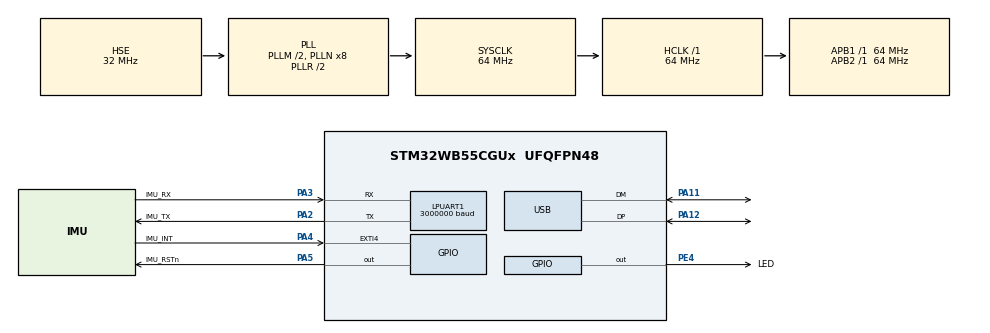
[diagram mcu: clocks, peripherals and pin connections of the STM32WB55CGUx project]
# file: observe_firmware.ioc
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Dma.LPUART1_RX.0.Direction=DMA_PERIPH_TO_MEMORY
Dma.LPUART1_RX.0.EventEnable=DISABLE
Dma.LPUART1_RX.0.Instance=DMA1_Channel1
Dma.LPUART1_RX.0.MemDataAlignment=DMA_MDATAALIGN_BYTE
Dma.LPUART1_RX.0.MemInc=DMA_MINC_ENABLE
Dma.LPUART1_RX.0.Mode=DMA_CIRCULAR
Dma.LPUART1_RX.0.PeriphDataAlignment=DMA_PDATAALIGN_BYTE
Dma.LPUART1_RX.0.PeriphInc=DMA_PINC_DISABLE
Dma.LPUART1_RX.0.Polarity=HAL_DMAMUX_REQ_GEN_RISING
Dma.LPUART1_RX.0.Priority=DMA_PRIORITY_LOW
Dma.LPUART1_RX.0.RequestNumber=1
Dma.LPUART1_RX.0.SignalID=NONE
Dma.LPUART1_RX.0.SyncEnable=DISABLE
Dma.LPUART1_RX.0.SyncPolarity=HAL_DMAMUX_SYNC_NO_EVENT
Dma.LPUART1_RX.0.SyncRequestNumber=1
Dma.LPUART1_RX.0.SyncSignalID=NONE
Dma.Request0=LPUART1_RX
LPUART1.BaudRate=3000000
Mcu.Family=STM32WB
Mcu.Name=STM32WB55CGUx
Mcu.Package=UFQFPN48
NVIC.DMA1_Channel1_IRQn=true\:0\:0\:false\:false\:true\:false\:true\:false
NVIC.EXTI4_IRQn=true\:1\:0\:true\:false\:true\:true\:true\:false
NVIC.HSEM_IRQn=true\:0\:0\:false\:false\:true\:false\:true\:true
NVIC.IPCC_C1_RX_IRQn=true\:0\:0\:false\:false\:true\:true\:true\:true
NVIC.IPCC_C1_TX_IRQn=true\:0\:0\:false\:false\:true\:true\:true\:true
NVIC.LPUART1_IRQn=true\:2\:0\:true\:false\:true\:true\:true\:false
NVIC.PriorityGroup=NVIC_PRIORITYGROUP_4
NVIC.RTC_WKUP_IRQn=true\:3\:0\:true\:false\:true\:true\:true\:true
NVIC.TIM1_TRG_COM_TIM17_IRQn=true\:0\:0\:false\:false\:true\:true\:true\:true
NVIC.USB_HP_IRQn=true\:0\:0\:false\:false\:true\:true\:true\:true
NVIC.USB_LP_IRQn=true\:0\:0\:false\:false\:true\:true\:true\:true
OSC_IN.Mode=HSE-External-Oscillator
OSC_IN.Signal=RCC_OSC_IN
OSC_OUT.Mode=HSE-External-Oscillator
OSC_OUT.Signal=RCC_OSC_OUT
PA11.GPIO_Speed=GPIO_SPEED_FREQ_VERY_HIGH
PA11.Mode=Device
PA11.Signal=USB_DM
PA12.GPIO_Speed=GPIO_SPEED_FREQ_VERY_HIGH
PA12.Mode=Device
PA12.Signal=USB_DP
PA13.Mode=Serial_Wire
PA13.Signal=SYS_JTMS-SWDIO
PA14.Mode=Serial_Wire
PA14.Signal=SYS_JTCK-SWCLK
PA2.GPIO_Label=IMU_TX
PA2.GPIO_Speed=GPIO_SPEED_FREQ_VERY_HIGH
PA2.Mode=Asynchronous
PA2.Signal=LPUART1_TX
PA3.GPIO_Label=IMU_RX
PA3.GPIO_Speed=GPIO_SPEED_FREQ_VERY_HIGH
PA3.Mode=Asynchronous
PA3.Signal=LPUART1_RX
PA4.GPIO_Label=IMU_INT
PA4.GPIO_ModeDefaultEXTI=GPIO_MODE_IT_FALLING
PA4.GPIO_PuPd=GPIO_PULLUP
PA4.Signal=GPXTI4
PA5.GPIO_Label=IMU_RSTn
PA5.GPIO_Speed=GPIO_SPEED_FREQ_MEDIUM
PA5.PinState=GPIO_PIN_SET
PA5.Signal=GPIO_Output
PC14-OSC32_IN.Mode=LSE-External-Oscillator
PC14-OSC32_IN.Signal=RCC_OSC32_IN
PC15-OSC32_OUT.Mode=LSE-External-Oscillator
PC15-OSC32_OUT.Signal=RCC_OSC32_OUT
PE4.GPIO_Label=LED
PE4.GPIO_Speed=GPIO_SPEED_FREQ_HIGH
PE4.PinState=GPIO_PIN_RESET
PE4.Signal=GPIO_Output
ProjectManager.HeapSize=0x400
ProjectManager.StackSize=0x600
ProjectManager.TargetToolchain=CMake
RCC.ADCFreq_Value=48000000
RCC.AHB2CLKDivider=RCC_SYSCLK_DIV2
RCC.AHBFreq_Value=64000000
RCC.APB1Freq_Value=64000000
RCC.APB1TimFreq_Value=64000000
RCC.APB2Freq_Value=64000000
RCC.APB2TimFreq_Value=64000000
RCC.APB3Freq_Value=16000000
RCC.CortexFreq_Value=64000000
RCC.HCLKFreq_Value=64000000
RCC.HSE_VALUE=32000000
RCC.HSI48_VALUE=48000000
RCC.HSI_VALUE=16000000
RCC.MSIClockRange=RCC_MSIRANGE_10
RCC.PLLM=RCC_PLLM_DIV2
RCC.PLLSAI1N=6
RCC.PLLSourceVirtual=RCC_PLLSOURCE_HSE
RCC.RFWKPClockSelection=RCC_RFWKPCLKSOURCE_LSE
RCC.SMPSCLockSelection=RCC_SMPSCLKSOURCE_HSE
RCC.SYSCLKFreq_VALUE=64000000
RCC.SYSCLKSource=RCC_SYSCLKSOURCE_PLLCLK
RCC.USBFreq_Value=48000000
RCC.VCOOutputFreq_Value=128000000
RF1.Mode=RF1_Activate
RF1.Signal=RF_RF1
TIM17.AutoReloadPreload=TIM_AUTORELOAD_PRELOAD_ENABLE
TIM17.Period=63999
TIM2.AutoReloadPreload=TIM_AUTORELOAD_PRELOAD_ENABLE
TIM2.Prescaler=63
USB.Sof_enable=ENABLE
USB.lpm_enable=DISABLE
USB_DEVICE.CLASS_NAME_FS=CDC
USB_DEVICE.VirtualMode=Cdc
USB_DEVICE.VirtualModeFS=Cdc_FS
VP_HSEM_VS_HSEM.Mode=HSEM_Activate
VP_IPCC_VS_IPCC.Mode=IPCC_Activate
VP_MEMORYMAP_VS_MEMORYMAP.Mode=CurAppReg
VP_RTC_VS_RTC_Activate.Mode=RTC_Enabled
VP_RTC_VS_RTC_WakeUp_intern.Mode=WakeUp
VP_TIM17_VS_ClockSourceINT.Mode=Enable_Timer
VP_TIM2_VS_ClockSourceINT.Mode=Internal
VP_USB_DEVICE_VS_USB_DEVICE_CDC_FS.Mode=CDC_FS
board=custom

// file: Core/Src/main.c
/* USER CODE BEGIN Header */
/**
  ******************************************************************************
  * @file           : main.c
  * @brief          : Main program body
  ******************************************************************************
  * @attention
  *
  * Copyright (c) 2026 STMicroelectronics.
  * All rights reserved.
  *
  * This software is licensed under terms that can be found in the LICENSE file
  * in the root directory of this software component.
  * If no LICENSE file comes with this software, it is provided AS-IS.
  *
  ******************************************************************************
  */
/* USER CODE END Header */
#include "main.h"
#include "usb_device.h"

/* USER CODE BEGIN Includes */
#include "sh2.h"
#include "sh2_util.h"
#include "sh2_err.h"
#include "sh2_SensorValue.h"
#include "sh2_hal.h"

#include "usbd_cdc_if.h"
/* USER CODE END Includes */

IPCC_HandleTypeDef hipcc;

UART_HandleTypeDef hlpuart1;
DMA_HandleTypeDef hdma_lpuart1_rx;

RTC_HandleTypeDef hrtc;

TIM_HandleTypeDef htim2;
TIM_HandleTypeDef htim17;

/* USER CODE BEGIN PV */
// Exported Varaibles
volatile pack_t PACK = {"HHHH", {0},"XXXX"};

volatile imu_data_t* pimu_data = &PACK.imu_data;

UART_HandleTypeDef* phlpuart1 = &hlpuart1;
DMA_HandleTypeDef* phdma_lpuart1_rx = &hdma_lpuart1_rx;

// Local Variables
static sh2_Hal_t* pSh2Hal = 0;
static bool resetOccurred = false;

static uint8_t msg[1024];
/* USER CODE END PV */

void SystemClock_Config(void);
void PeriphCommonClock_Config(void);
static void MX_GPIO_Init(void);
static void MX_DMA_Init(void);
static void MX_IPCC_Init(void);
static void MX_LPUART1_UART_Init(void);
static void MX_RTC_Init(void);
static void MX_TIM2_Init(void);
static void MX_TIM17_Init(void);
static void MX_RF_Init(void);
/* USER CODE BEGIN PFP */

// sh2 functions
static void startReports(void);
static void eventHandler(void * cookie, sh2_AsyncEvent_t *pEvent);
static void sensorHandler(void * cookie, sh2_SensorEvent_t *pEvent);
/* USER CODE END PFP */

int main(void)
{

  /* MCU Configuration--------------------------------------------------------*/

  /* Reset of all peripherals, Initializes the Flash interface and the Systick. */
  HAL_Init();

  /* Configure the system clock */
  SystemClock_Config();

  /* Configure the peripherals common clocks */
  PeriphCommonClock_Config();

  /* IPCC initialisation */
  MX_IPCC_Init();

  /* Initialize all configured peripherals */
  MX_GPIO_Init();
  MX_DMA_Init();
  MX_LPUART1_UART_Init();
  MX_RTC_Init();
  MX_USB_Device_Init();
  MX_TIM2_Init();
  MX_TIM17_Init();
  MX_RF_Init();
  /* USER CODE BEGIN 2 */
  // Enable us timer
  HAL_TIM_Base_Start(&htim2);

  // Enable control loop timer
  HAL_TIM_Base_Start_IT(&htim17);

  pSh2Hal = sh2_HAL_init(
      IMU_RSTn_GPIO_Port, IMU_RSTn_Pin,
      IMU_INT_GPIO_Port, IMU_INT_Pin, IMU_INT_EXTI_IRQn,
      phlpuart1, LPUART1_IRQn, phdma_lpuart1_rx, DMA1_Channel1_IRQn);

  // Open SH2 interface (also registers non-sensor event handler.)
  int ret = sh2_open(pSh2Hal, eventHandler, NULL);
  if (ret != SH2_OK) {
    printf("Error, %d, from sh2_open.\n", ret);
  }

  // Register sensor listener
  sh2_setSensorCallback(sensorHandler, NULL);

  resetOccurred = false;

  startReports();
  /* USER CODE END 2 */

  /* Infinite loop */
  /* USER CODE BEGIN WHILE */
  while (1)
  {
    if (resetOccurred) {
      // Restart the flow of sensor reports
      resetOccurred = false;
      startReports();
    }
    // Service the sensor hub.
    sh2_service();

    /* USER CODE END WHILE */

  }
}

void SystemClock_Config(void)
{
  RCC_OscInitTypeDef RCC_OscInitStruct = {0};
  RCC_ClkInitTypeDef RCC_ClkInitStruct = {0};

  /** Configure LSE Drive Capability
  */
  HAL_PWR_EnableBkUpAccess();
  __HAL_RCC_LSEDRIVE_CONFIG(RCC_LSEDRIVE_MEDIUMHIGH);

  /** Configure the main internal regulator output voltage
  */
  __HAL_PWR_VOLTAGESCALING_CONFIG(PWR_REGULATOR_VOLTAGE_SCALE1);

  /** Initializes the RCC Oscillators according to the specified parameters
  * in the RCC_OscInitTypeDef structure.
  */
  RCC_OscInitStruct.OscillatorType = RCC_OSCILLATORTYPE_HSI|RCC_OSCILLATORTYPE_LSI1
                              |RCC_OSCILLATORTYPE_HSE|RCC_OSCILLATORTYPE_LSE;
  RCC_OscInitStruct.HSEState = RCC_HSE_ON;
  RCC_OscInitStruct.LSEState = RCC_LSE_ON;
  RCC_OscInitStruct.HSIState = RCC_HSI_ON;
  RCC_OscInitStruct.HSICalibrationValue = RCC_HSICALIBRATION_DEFAULT;
  RCC_OscInitStruct.LSIState = RCC_LSI_ON;
  RCC_OscInitStruct.PLL.PLLState = RCC_PLL_ON;
  RCC_OscInitStruct.PLL.PLLSource = RCC_PLLSOURCE_HSE;
  RCC_OscInitStruct.PLL.PLLM = RCC_PLLM_DIV2;
  RCC_OscInitStruct.PLL.PLLN = 8;
  RCC_OscInitStruct.PLL.PLLP = RCC_PLLP_DIV2;
  RCC_OscInitStruct.PLL.PLLR = RCC_PLLR_DIV2;
  RCC_OscInitStruct.PLL.PLLQ = RCC_PLLQ_DIV2;
  if (HAL_RCC_OscConfig(&RCC_OscInitStruct) != HAL_OK)
  {
    Error_Handler();
  }

  /** Configure the SYSCLKSource, HCLK, PCLK1 and PCLK2 clocks dividers
  */
  RCC_ClkInitStruct.ClockType = RCC_CLOCKTYPE_HCLK4|RCC_CLOCKTYPE_HCLK2
                              |RCC_CLOCKTYPE_HCLK|RCC_CLOCKTYPE_SYSCLK
                              |RCC_CLOCKTYPE_PCLK1|RCC_CLOCKTYPE_PCLK2;
  RCC_ClkInitStruct.SYSCLKSource = RCC_SYSCLKSOURCE_PLLCLK;
  RCC_ClkInitStruct.AHBCLKDivider = RCC_SYSCLK_DIV1;
  RCC_ClkInitStruct.APB1CLKDivider = RCC_HCLK_DIV1;
  RCC_ClkInitStruct.APB2CLKDivider = RCC_HCLK_DIV1;
  RCC_ClkInitStruct.AHBCLK2Divider = RCC_SYSCLK_DIV2;
  RCC_ClkInitStruct.AHBCLK4Divider = RCC_SYSCLK_DIV1;

  if (HAL_RCC_ClockConfig(&RCC_ClkInitStruct, FLASH_LATENCY_3) != HAL_OK)
  {
    Error_Handler();
  }
}

void PeriphCommonClock_Config(void)
{
  RCC_PeriphCLKInitTypeDef PeriphClkInitStruct = {0};

  /** Initializes the peripherals clock
  */
  PeriphClkInitStruct.PeriphClockSelection = RCC_PERIPHCLK_SMPS|RCC_PERIPHCLK_RFWAKEUP;
  PeriphClkInitStruct.RFWakeUpClockSelection = RCC_RFWKPCLKSOURCE_LSE;
  PeriphClkInitStruct.SmpsClockSelection = RCC_SMPSCLKSOURCE_HSE;
  PeriphClkInitStruct.SmpsDivSelection = RCC_SMPSCLKDIV_RANGE0;

  if (HAL_RCCEx_PeriphCLKConfig(&PeriphClkInitStruct) != HAL_OK)
  {
    Error_Handler();
  }
}

static void MX_IPCC_Init(void)
{

  hipcc.Instance = IPCC;
  if (HAL_IPCC_Init(&hipcc) != HAL_OK)
  {
    Error_Handler();
  }

}

static void MX_LPUART1_UART_Init(void)
{

  hlpuart1.Instance = LPUART1;
  hlpuart1.Init.BaudRate = 3000000;
  hlpuart1.Init.WordLength = UART_WORDLENGTH_8B;
  hlpuart1.Init.StopBits = UART_STOPBITS_1;
  hlpuart1.Init.Parity = UART_PARITY_NONE;
  hlpuart1.Init.Mode = UART_MODE_TX_RX;
  hlpuart1.Init.HwFlowCtl = UART_HWCONTROL_NONE;
  hlpuart1.Init.OneBitSampling = UART_ONE_BIT_SAMPLE_DISABLE;
  hlpuart1.Init.ClockPrescaler = UART_PRESCALER_DIV1;
  hlpuart1.AdvancedInit.AdvFeatureInit = UART_ADVFEATURE_NO_INIT;
  hlpuart1.FifoMode = UART_FIFOMODE_DISABLE;
  if (HAL_UART_Init(&hlpuart1) != HAL_OK)
  {
    Error_Handler();
  }
  if (HAL_UARTEx_SetTxFifoThreshold(&hlpuart1, UART_TXFIFO_THRESHOLD_1_8) != HAL_OK)
  {
    Error_Handler();
  }
  if (HAL_UARTEx_SetRxFifoThreshold(&hlpuart1, UART_RXFIFO_THRESHOLD_1_8) != HAL_OK)
  {
    Error_Handler();
  }
  if (HAL_UARTEx_DisableFifoMode(&hlpuart1) != HAL_OK)
  {
    Error_Handler();
  }

}

static void MX_RF_Init(void)
{

}

static void MX_RTC_Init(void)
{

  /** Initialize RTC Only
  */
  hrtc.Instance = RTC;
  hrtc.Init.HourFormat = RTC_HOURFORMAT_24;
  hrtc.Init.AsynchPrediv = 127;
  hrtc.Init.SynchPrediv = 255;
  hrtc.Init.OutPut = RTC_OUTPUT_DISABLE;
  hrtc.Init.OutPutPolarity = RTC_OUTPUT_POLARITY_HIGH;
  hrtc.Init.OutPutType = RTC_OUTPUT_TYPE_OPENDRAIN;
  hrtc.Init.OutPutRemap = RTC_OUTPUT_REMAP_NONE;
  if (HAL_RTC_Init(&hrtc) != HAL_OK)
  {
    Error_Handler();
  }

  /** Enable the WakeUp
  */
  if (HAL_RTCEx_SetWakeUpTimer_IT(&hrtc, 0, RTC_WAKEUPCLOCK_RTCCLK_DIV16) != HAL_OK)
  {
    Error_Handler();
  }

}

static void MX_TIM2_Init(void)
{

  TIM_ClockConfigTypeDef sClockSourceConfig = {0};
  TIM_MasterConfigTypeDef sMasterConfig = {0};

  htim2.Instance = TIM2;
  htim2.Init.Prescaler = 63;
  htim2.Init.CounterMode = TIM_COUNTERMODE_UP;
  htim2.Init.Period = 4294967295;
  htim2.Init.ClockDivision = TIM_CLOCKDIVISION_DIV1;
  htim2.Init.AutoReloadPreload = TIM_AUTORELOAD_PRELOAD_ENABLE;
  if (HAL_TIM_Base_Init(&htim2) != HAL_OK)
  {
    Error_Handler();
  }
  sClockSourceConfig.ClockSource = TIM_CLOCKSOURCE_INTERNAL;
  if (HAL_TIM_ConfigClockSource(&htim2, &sClockSourceConfig) != HAL_OK)
  {
    Error_Handler();
  }
  sMasterConfig.MasterOutputTrigger = TIM_TRGO_RESET;
  sMasterConfig.MasterSlaveMode = TIM_MASTERSLAVEMODE_DISABLE;
  if (HAL_TIMEx_MasterConfigSynchronization(&htim2, &sMasterConfig) != HAL_OK)
  {
    Error_Handler();
  }

}

static void MX_TIM17_Init(void)
{

  htim17.Instance = TIM17;
  htim17.Init.Prescaler = 0;
  htim17.Init.CounterMode = TIM_COUNTERMODE_UP;
  htim17.Init.Period = 63999;
  htim17.Init.ClockDivision = TIM_CLOCKDIVISION_DIV1;
  htim17.Init.RepetitionCounter = 0;
  htim17.Init.AutoReloadPreload = TIM_AUTORELOAD_PRELOAD_ENABLE;
  if (HAL_TIM_Base_Init(&htim17) != HAL_OK)
  {
    Error_Handler();
  }

}

static void MX_DMA_Init(void)
{

  /* DMA controller clock enable */
  __HAL_RCC_DMAMUX1_CLK_ENABLE();
  __HAL_RCC_DMA1_CLK_ENABLE();

  /* DMA interrupt init */
  /* DMA1_Channel1_IRQn interrupt configuration */
  HAL_NVIC_SetPriority(DMA1_Channel1_IRQn, 0, 0);
  HAL_NVIC_EnableIRQ(DMA1_Channel1_IRQn);

}

static void MX_GPIO_Init(void)
{
  GPIO_InitTypeDef GPIO_InitStruct = {0};

  /* GPIO Ports Clock Enable */
  __HAL_RCC_GPIOC_CLK_ENABLE();
  __HAL_RCC_GPIOA_CLK_ENABLE();
  __HAL_RCC_GPIOE_CLK_ENABLE();

  /*Configure GPIO pin Output Level */
  HAL_GPIO_WritePin(IMU_RSTn_GPIO_Port, IMU_RSTn_Pin, GPIO_PIN_SET);

  /*Configure GPIO pin Output Level */
  HAL_GPIO_WritePin(LED_GPIO_Port, LED_Pin, GPIO_PIN_RESET);

  /*Configure GPIO pin : IMU_INT_Pin */
  GPIO_InitStruct.Pin = IMU_INT_Pin;
  GPIO_InitStruct.Mode = GPIO_MODE_IT_FALLING;
  GPIO_InitStruct.Pull = GPIO_PULLUP;
  HAL_GPIO_Init(IMU_INT_GPIO_Port, &GPIO_InitStruct);

  /*Configure GPIO pin : IMU_RSTn_Pin */
  GPIO_InitStruct.Pin = IMU_RSTn_Pin;
  GPIO_InitStruct.Mode = GPIO_MODE_OUTPUT_PP;
  GPIO_InitStruct.Pull = GPIO_NOPULL;
  GPIO_InitStruct.Speed = GPIO_SPEED_FREQ_MEDIUM;
  HAL_GPIO_Init(IMU_RSTn_GPIO_Port, &GPIO_InitStruct);

  /*Configure GPIO pin : LED_Pin */
  GPIO_InitStruct.Pin = LED_Pin;
  GPIO_InitStruct.Mode = GPIO_MODE_OUTPUT_PP;
  GPIO_InitStruct.Pull = GPIO_NOPULL;
  GPIO_InitStruct.Speed = GPIO_SPEED_FREQ_HIGH;
  HAL_GPIO_Init(LED_GPIO_Port, &GPIO_InitStruct);

  /* EXTI interrupt init*/
  HAL_NVIC_SetPriority(EXTI4_IRQn, 1, 0);

}

/* USER CODE BEGIN 4 */
void delayUs(uint32_t t)
{
  uint32_t start = TimeNowUs();

  while ((TimeNowUs() - start) < t);
}

void startReports(void) {
  int status;

  // Each entry of sensorConfig[] represents one sensor to be configured in the loop below
  static const struct {
    int sensorId;
    sh2_SensorConfig_t config;
  } sensorConfig[] =
  {
    // Gyro Rotation Vector, 1000 Hz
    {SH2_GYRO_INTEGRATED_RV, {.reportInterval_us = 1000}},
};

  for (int n = 0; n < ARRAY_LEN(sensorConfig); n++)
  {
    int sensorId = sensorConfig[n].sensorId;

    status = sh2_setSensorConfig(sensorId, &sensorConfig[n].config);
    if (status != 0) {
      memset(msg, 0x00, sizeof(msg));
      snprintf(msg, sizeof(msg), "Error while enabling sensor %d\n", sensorId);
      CDC_Transmit_FS(msg, sizeof(msg));
    }
  }
  status = sh2_setCalConfig((SH2_CAL_ACCEL|SH2_CAL_GYRO|SH2_CAL_MAG));
  if (status != 0) {
    memset(msg, 0x00, sizeof(msg));
    snprintf(msg, sizeof(msg), "Error while configuring calibration! %d\r\n", status);
    CDC_Transmit_FS(msg, sizeof(msg));
  }
  status = sh2_setDcdAutoSave(true);
  if (status != 0) {
    memset(msg, 0x00, sizeof(msg));
    snprintf(msg, sizeof(msg), "Error while enabling DCD Autosave! %d\r\n", status);
    CDC_Transmit_FS(msg, sizeof(msg));
  }
}

// Handle non-sensor events from the sensor hub
void eventHandler(void * cookie, sh2_AsyncEvent_t *pEvent)
{
  // If we see a reset, set a flag so that sensors will be reconfigured.
  if (pEvent->eventId == SH2_RESET) {
    resetOccurred = true;
  }
  else if (pEvent->eventId == SH2_SHTP_EVENT) {
    printf("EventHandler  id:SHTP, %d\n", pEvent->shtpEvent);
  }
  else if (pEvent->eventId == SH2_GET_FEATURE_RESP) {
    printf("EventHandler Sensor Config, %d\n", pEvent->sh2SensorConfigResp.sensorId);
  }
  else {
    printf("EventHandler, unknown event Id: %d\n", pEvent->eventId);
  }
}

// Handle sensor events.
void sensorHandler(void * cookie, sh2_SensorEvent_t *pEvent)
{
  int rc;
    sh2_SensorValue_t value;

    rc = sh2_decodeSensorEvent(&value, pEvent);
    if (rc != SH2_OK) {
        printf("Error decoding sensor event: %d\n", rc);
        return;
    }

    pimu_data->timestamp_ms = value.timestamp / 1000;  // time in ms.
    switch (value.sensorId) {
        case SH2_GYRO_INTEGRATED_RV:
            pimu_data->r = value.un.gyroIntegratedRV.real;
            pimu_data->i = value.un.gyroIntegratedRV.i;
            pimu_data->j = value.un.gyroIntegratedRV.j;
            pimu_data->k = value.un.gyroIntegratedRV.k;
            pimu_data->velX = value.un.gyroIntegratedRV.angVelX;
            pimu_data->velY = value.un.gyroIntegratedRV.angVelY;
            pimu_data->velZ = value.un.gyroIntegratedRV.angVelZ;
            break;
        default:
            break;
    }
}

/* USER CODE END 4 */

void Error_Handler(void)
{
  __disable_irq();
  while (1)
  {
  }
}
